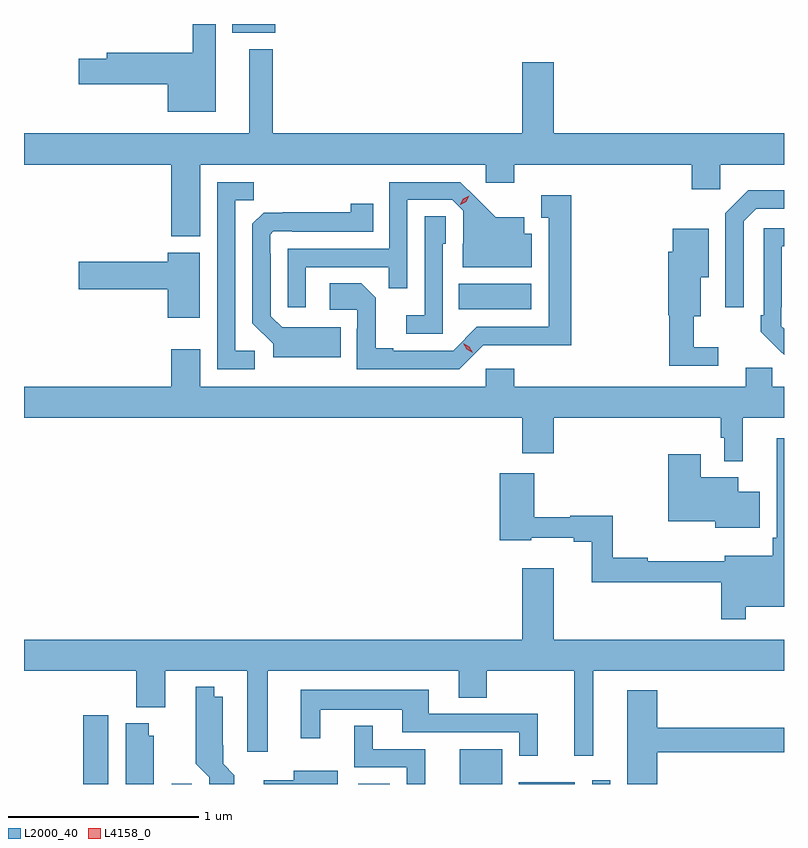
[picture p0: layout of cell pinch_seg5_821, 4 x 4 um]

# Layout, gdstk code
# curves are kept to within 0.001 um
import gdstk
lib = gdstk.Library(unit=1e-6, precision=1e-09)
def R(c, l, rs):  # rectangles x0, y0, x1, y1
    for r in rs: c.add(gdstk.rectangle(r[:2], r[2:], *l))
def P(c, l, *ps):  # polygons
    for p in ps: c.add(gdstk.Polygon(p, *l))
L2000_40 = (2000, 40)
L4158_0 = (4158, 0)

pinch_seg5_821 = lib.new_cell('pinch_seg5_821')
R(pinch_seg5_821, L2000_40, [(786.074,873.48,786.205,873.841), (786.539,873.48,786.643,873.481), (787.52,873.48,787.687,873.482), (788.054,873.48,788.278,873.664), (788.366,873.48,788.659,873.49), (788.751,873.48,788.847,873.499), (788.05,875.978,788.431,876.112), (786.857,877.433,787.084,877.48)])
P(pinch_seg5_821, L2000_40, [(786.769,877.48),(786.648,877.48),(786.648,877.328),(786.197,877.328),(786.197,877.298),(786.048,877.298),(786.048,877.163),(786.518,877.163),(786.518,877.019),(786.769,877.019)],
  [(786.688,876.74),(788.19,876.74),(788.19,876.645),(788.342,876.645),(788.342,876.74),(789.275,876.74),(789.275,876.609),(789.426,876.609),(789.426,876.74),(789.761,876.74),(789.761,876.904),(788.548,876.904),(788.548,877.279),(788.384,877.279),(788.384,876.904),(787.069,876.904),(787.069,877.348),(786.947,877.348),(786.947,876.904),(785.761,876.904),(785.761,876.74),(786.536,876.74),(786.536,876.362),(786.688,876.362)],
  [(787.245,876.201),(787.681,876.201),(787.681,876.088),(787.779,876.088),(787.779,876.555),(788.016,876.555),(788.073,876.498),(788.073,876.324),(788.069,876.324),(788.069,876.2),(788.434,876.2),(788.434,876.376),(788.395,876.376),(788.395,876.463),(788.243,876.463),(788.056,876.648),(787.683,876.648),(787.683,876.297),(787.149,876.297),(787.149,875.988),(787.245,875.988)],
  [(786.976,875.76),(786.873,875.76),(786.873,876.553),(786.969,876.553),(786.969,876.648),(786.777,876.648),(786.777,875.664),(786.976,875.664)],
  [(789.549,876.441),(789.615,876.507),(789.761,876.507),(789.761,876.604),(789.574,876.604),(789.453,876.483),(789.453,875.988),(789.549,875.988)],
  [(788.178,875.79),(788.641,875.789),(788.641,876.58),(788.483,876.58),(788.483,876.459),(788.522,876.459),(788.522,875.886),(788.145,875.886),(788.019,875.76),(787.705,875.76),(787.705,875.773),(787.611,875.773),(787.611,876.04),(787.535,876.116),(787.371,876.116),(787.371,875.976),(787.515,875.976),(787.515,875.876),(787.512,875.876),(787.512,875.664),(788.052,875.664)],
  [(787.427,875.883),(787.119,875.883),(787.059,875.943),(787.059,876.272),(787.056,876.272),(787.056,876.372),(787.074,876.39),(787.174,876.39),(787.174,876.387),(787.598,876.387),(787.598,876.535),(787.48,876.535),(787.48,876.488),(787.022,876.487),(786.963,876.428),(786.963,875.906),(787.073,875.796),(787.073,875.726),(787.427,875.726)],
  [(787.965,876.324),(787.98,876.324),(787.98,876.467),(787.869,876.467),(787.869,875.947),(787.773,875.947),(787.773,875.85),(787.965,875.85)],
  [(789.761,875.875),(789.747,875.889),(789.747,875.989),(789.75,875.989),(789.75,876.309),(789.761,876.309),(789.761,876.405),(789.654,876.405),(789.654,875.947),(789.639,875.947),(789.639,875.859),(789.744,875.754),(789.745,875.755),(789.761,875.739)],
  [(789.415,875.779),(789.286,875.779),(789.286,875.942),(789.322,875.942),(789.322,876.146),(789.364,876.146),(789.364,876.403),(789.176,876.403),(789.176,876.282),(789.152,876.282),(789.152,875.946),(789.157,875.946),(789.157,875.682),(789.415,875.682)],
  [(786.685,876.277),(786.518,876.277),(786.518,876.23),(786.048,876.23),(786.048,876.083),(786.518,876.083),(786.518,875.934),(786.685,875.934)],
  [(789.545,875.408),(789.761,875.408),(789.761,875.572),(789.699,875.572),(789.699,875.67),(789.56,875.67),(789.56,875.572),(788.342,875.572),(788.342,875.665),(788.19,875.665),(788.19,875.572),(786.688,875.572),(786.688,875.767),(786.536,875.767),(786.536,875.572),(785.761,875.572),(785.761,875.408),(788.384,875.408),(788.384,875.22),(788.548,875.22),(788.548,875.408),(789.427,875.408),(789.427,875.302),(789.447,875.302),(789.447,875.18),(789.545,875.18)],
  [(789.559,874.412),(789.761,874.412),(789.761,875.299),(789.723,875.299),(789.723,874.777),(789.703,874.777),(789.703,874.681),(789.449,874.681),(789.449,874.652),(789.044,874.652),(789.044,874.67),(788.86,874.67),(788.86,874.892),(788.637,874.892),(788.637,874.885),(788.447,874.885),(788.447,875.116),(788.264,875.116),(788.264,874.763),(788.43,874.763),(788.43,874.775),(788.654,874.775),(788.654,874.756),(788.75,874.756),(788.75,874.542),(789.43,874.542),(789.43,874.347),(789.559,874.347)],
  [(789.634,875.017),(789.52,875.017),(789.52,875.095),(789.322,875.095),(789.322,875.215),(789.152,875.215),(789.152,874.862),(789.398,874.862),(789.398,874.829),(789.634,874.829)],
  [(788.756,874.076),(789.761,874.076),(789.761,874.24),(788.548,874.24),(788.548,874.615),(788.384,874.615),(788.384,874.24),(785.761,874.24),(785.761,874.076),(786.353,874.076),(786.353,873.884),(786.505,873.884),(786.505,874.076),(786.935,874.076),(786.935,873.651),(787.045,873.651),(787.045,874.076),(788.048,874.076),(788.048,873.934),(788.196,873.934),(788.196,874.076),(788.657,874.076),(788.657,873.63),(788.756,873.63)],
  [(786.868,873.527),(786.809,873.586),(786.808,873.94),(786.763,873.94),(786.763,873.991),(786.666,873.991),(786.665,873.586),(786.735,873.516),(786.735,873.48),(786.868,873.48)],
  [(788.465,873.849),(787.891,873.849),(787.891,873.976),(787.217,873.976),(787.217,873.72),(787.321,873.72),(787.321,873.872),(787.751,873.872),(787.751,873.753),(788.367,873.753),(788.367,873.63),(788.465,873.63)],
  [(789.095,873.646),(789.761,873.646),(789.761,873.775),(789.095,873.775),(789.095,873.973),(788.936,873.973),(788.936,873.48),(789.095,873.48)],
  [(786.445,873.735),(786.418,873.735),(786.418,873.799),(786.296,873.799),(786.296,873.48),(786.445,873.48)],
  [(787.874,873.663),(787.597,873.663),(787.597,873.787),(787.499,873.787),(787.499,873.567),(787.776,873.567),(787.776,873.48),(787.874,873.48)],
  [(787.411,873.55),(787.181,873.55),(787.181,873.499),(787.023,873.499),(787.023,873.48),(787.411,873.48)])
P(pinch_seg5_821, L4158_0, [(788.122,875.749),(788.09,875.767),(788.072,875.8),(788.072,875.8),(788.073,875.8),(788.104,875.782),(788.122,875.749),(788.122,875.749)],
  [(788.057,876.53),(788.057,876.531),(788.074,876.56),(788.105,876.575),(788.105,876.575),(788.105,876.575),(788.088,876.545),(788.057,876.53)])

lib.write_gds('pinch_seg5_821.gds')
